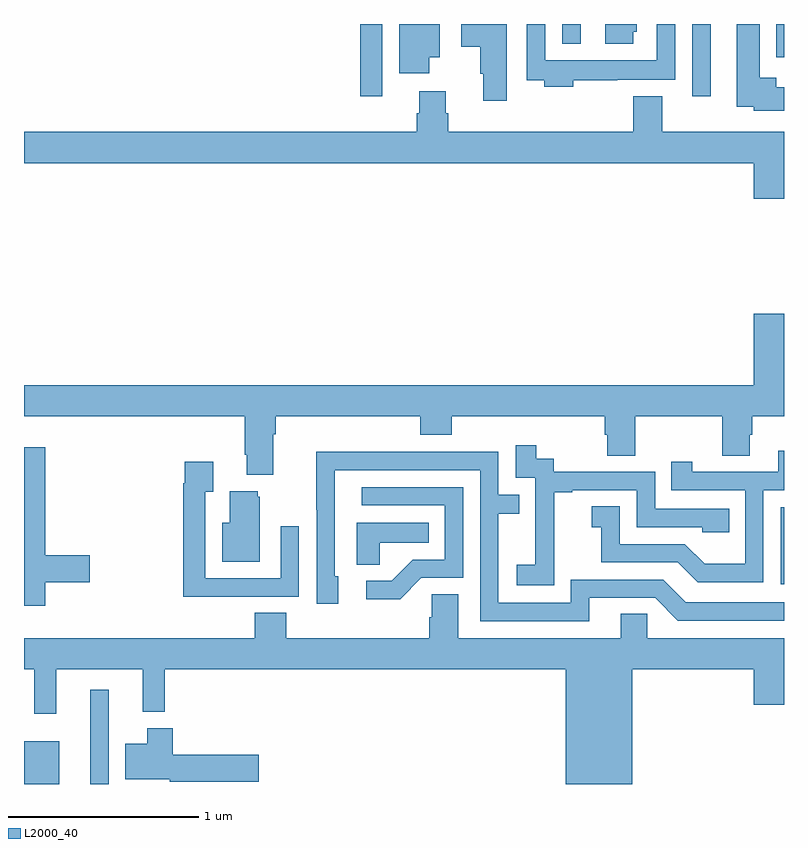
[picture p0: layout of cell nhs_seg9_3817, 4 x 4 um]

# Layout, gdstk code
import gdstk
lib = gdstk.Library(unit=1e-6, precision=1e-09)
def R(c, l, rs):  # rectangles x0, y0, x1, y1
    for r in rs: c.add(gdstk.rectangle(r[:2], r[2:], *l))
def P(c, l, *ps):  # polygons
    for p in ps: c.add(gdstk.Polygon(p, *l))
L2000_40 = (2000, 40)

nhs_seg9_3817 = lib.new_cell('nhs_seg9_3817')
R(nhs_seg9_3817, L2000_40, [(329,1178.5,329.185,1178.725), (329.348,1178.5,329.445,1178.995), (332.982,1179.552,333,1179.957), (330.769,1182.12,330.885,1182.5), (332.517,1182.12,332.614,1182.5), (332.96,1182.326,333,1182.5), (331.833,1182.395,331.93,1182.5)])
P(nhs_seg9_3817, L2000_40, [(331.892,1182.204),(332.123,1182.204),(332.123,1182.206),(332.427,1182.206),(332.427,1182.5),(332.331,1182.5),(332.331,1182.31),(331.743,1182.31),(331.743,1182.5),(331.647,1182.5),(331.647,1182.204),(331.739,1182.204),(331.739,1182.17),(331.892,1182.17)],
  [(332.206,1182.459),(332.224,1182.459),(332.224,1182.5),(332.06,1182.5),(332.06,1182.396),(332.206,1182.396)],
  [(333,1182.166),(332.959,1182.166),(332.959,1182.217),(332.872,1182.217),(332.872,1182.5),(332.75,1182.5),(332.75,1182.065),(332.841,1182.065),(332.841,1182.044),(333,1182.044)],
  [(331.54,1182.5),(331.301,1182.5),(331.301,1182.379),(331.4,1182.379),(331.4,1182.237),(331.418,1182.237),(331.418,1182.096),(331.54,1182.096)],
  [(331.132,1182.326),(331.189,1182.326),(331.189,1182.5),(330.974,1182.5),(330.974,1182.24),(331.132,1182.24)],
  [(333,1181.932),(332.359,1181.932),(332.359,1182.121),(332.207,1182.121),(332.207,1181.932),(331.232,1181.932),(331.232,1182.03),(331.219,1182.03),(331.219,1182.145),(331.079,1182.145),(331.079,1182.03),(331.067,1182.03),(331.067,1181.932),(329,1181.932),(329,1181.768),(332.84,1181.768),(332.84,1181.58),(333,1181.58)],
  [(330.313,1180.34),(330.326,1180.34),(330.326,1180.436),(331.085,1180.436),(331.085,1180.337),(331.25,1180.337),(331.25,1180.436),(332.057,1180.436),(332.057,1180.338),(332.069,1180.338),(332.069,1180.228),(332.217,1180.228),(332.217,1180.436),(332.674,1180.436),(332.674,1180.228),(332.821,1180.228),(332.821,1180.338),(332.834,1180.338),(332.834,1180.436),(333,1180.436),(333,1180.975),(332.84,1180.975),(332.84,1180.6),(329,1180.6),(329,1180.436),(330.161,1180.436),(330.161,1180.234),(330.173,1180.234),(330.173,1180.127),(330.313,1180.127)],
  [(331.791,1179.751),(331.79,1179.751),(331.79,1180.035),(331.885,1180.035),(331.885,1180.047),(332.226,1180.047),(332.226,1179.852),(332.571,1179.852),(332.571,1179.825),(332.711,1179.825),(332.711,1179.948),(332.322,1179.948),(332.322,1180.143),(331.788,1180.143),(331.788,1180.212),(331.696,1180.212),(331.696,1180.282),(331.587,1180.282),(331.587,1180.113),(331.692,1180.113),(331.692,1179.884),(331.691,1179.884),(331.691,1179.655),(331.593,1179.655),(331.593,1179.545),(331.791,1179.545)],
  [(329.111,1179.562),(329.347,1179.562),(329.347,1179.704),(329.111,1179.704),(329.111,1180.273),(329,1180.273),(329,1179.438),(329.111,1179.438)],
  [(332.892,1180.047),(333,1180.047),(333,1180.255),(332.969,1180.255),(332.969,1180.143),(332.518,1180.143),(332.518,1180.195),(332.407,1180.195),(332.407,1180.047),(332.796,1180.047),(332.796,1179.658),(332.582,1179.658),(332.478,1179.762),(332.136,1179.762),(332.136,1179.961),(331.989,1179.961),(331.989,1179.851),(332.038,1179.851),(332.038,1179.666),(332.441,1179.666),(332.546,1179.561),(332.892,1179.561)],
  [(331.975,1179.48),(332.322,1179.48),(332.442,1179.36),(333,1179.36),(333,1179.456),(332.484,1179.456),(332.364,1179.576),(331.878,1179.576),(331.878,1179.453),(331.497,1179.453),(331.497,1179.922),(331.607,1179.922),(331.607,1180.023),(331.497,1180.023),(331.497,1180.248),(331.001,1180.248),(331.001,1180.25),(330.538,1180.25),(330.538,1179.943),(330.54,1179.943),(330.54,1179.45),(330.655,1179.45),(330.655,1179.594),(330.636,1179.594),(330.636,1180.152),(331.401,1180.152),(331.401,1179.357),(331.975,1179.357)],
  [(330.131,1179.486),(330.447,1179.486),(330.447,1179.856),(330.351,1179.856),(330.351,1179.582),(329.955,1179.582),(329.955,1180.039),(329.995,1180.039),(329.995,1180.195),(329.847,1180.195),(329.847,1180.082),(329.839,1180.082),(329.839,1179.485),(330.131,1179.485)],
  [(331.092,1179.585),(331.311,1179.585),(331.311,1180.062),(330.777,1180.062),(330.777,1179.966),(331.215,1179.966),(331.215,1179.681),(331.046,1179.681),(330.935,1179.57),(330.801,1179.57),(330.801,1179.473),(330.979,1179.473)],
  [(330.241,1180.011),(330.23,1180.011),(330.23,1180.042),(330.083,1180.042),(330.083,1179.874),(330.044,1179.874),(330.044,1179.671),(330.241,1179.671)],
  [(330.873,1179.77),(331.13,1179.77),(331.13,1179.874),(330.752,1179.874),(330.752,1179.655),(330.873,1179.655)],
  [(332.2,1179.104),(332.84,1179.104),(332.84,1178.916),(333,1178.916),(333,1179.268),(332.28,1179.268),(332.28,1179.395),(332.141,1179.395),(332.141,1179.268),(331.285,1179.268),(331.285,1179.5),(331.146,1179.5),(331.146,1179.377),(331.133,1179.377),(331.133,1179.268),(330.38,1179.268),(330.38,1179.401),(330.215,1179.401),(330.215,1179.268),(329,1179.268),(329,1179.104),(329.053,1179.104),(329.053,1178.871),(329.171,1178.871),(329.171,1179.104),(329.624,1179.104),(329.624,1178.879),(329.741,1178.879),(329.741,1179.104),(331.85,1179.104),(331.85,1178.5),(332.2,1178.5)],
  [(330.235,1178.655),(329.783,1178.655),(329.783,1178.794),(329.648,1178.794),(329.648,1178.713),(329.534,1178.713),(329.534,1178.525),(329.766,1178.525),(329.766,1178.513),(330.235,1178.513)])

lib.write_gds('nhs_seg9_3817.gds')
